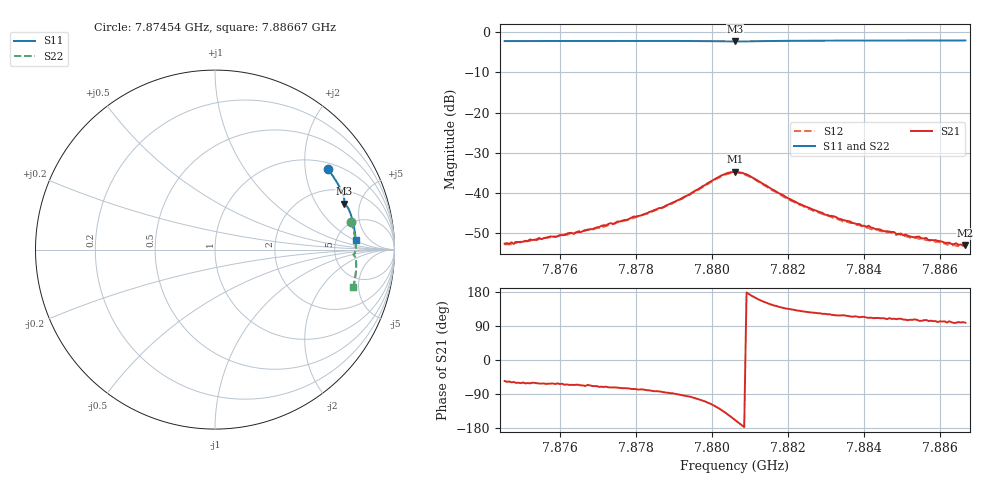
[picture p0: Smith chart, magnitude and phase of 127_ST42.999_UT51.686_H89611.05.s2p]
#  HZ  S  DB  R  50.00
! Rohde & Schwarz Vector Network Analyzer
! Rohde-Schwarz,ZNB20-2Port,1311601062101988,3.16
! Created: UTC 1/12/2023, 6:38:42 PM
! freq[Hz]  db:S11  ang:S11  db:S21  ang:S21  db:S12  ang:S12  db:S22  ang:S22
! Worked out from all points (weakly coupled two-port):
!   201 points, 7.87454 GHz to 7.88667 GHz, reference 50 ohm
!   highest |S21| = -34.73 dB at 7.88061 GHz (marker M1); lowest = -53.0 dB at 7.88667 GHz (marker M2)
!   lowest |S11| = -2.3 dB at 7.88061 GHz (marker M3), VSWR 7.47, Z = 144 + j178 ohm
!   |S11| at or under -10 dB: nowhere
!   |S22| runs from -2.2 to -2.0 dB; largest |S21 - S12| = 0.0012
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7.874542e9  -2.25 35.7  -52.60 -55.5  -52.81 -60.2  -2.20 11.6
7.874724e9  -2.25 35.1  -52.28 -58.9  -52.72 -61.6  -2.20 11.2
7.874785e9  -2.24 35.0  -52.66 -58.1  -52.23 -62.3  -2.19 11.0
7.874845e9  -2.24 34.8  -52.17 -60.4  -52.37 -60.5  -2.19 10.9
7.875391e9  -2.23 33.3  -51.52 -61.3  -51.73 -65.1  -2.17 9.6
7.876604e9  -2.21 30.0  -49.47 -66.9  -49.46 -71.6  -2.14 6.7
7.877757e9  -2.20 26.8  -46.70 -74.8  -46.79 -78.2  -2.11 4.0
7.878606e9  -2.20 24.5  -43.77 -82.9  -44.01 -86.1  -2.11 2.0
7.879395e9  -2.21 22.2  -40.43 -96.1  -40.60 -100.3  -2.12 0.1
7.880244e9  -2.31 20.0  -35.67 -131.5  -35.89 -134.8  -2.21 -1.8
7.880608e9  -2.34 19.6  -34.73 -158.3  -34.91 -161.5  -2.25 -2.1
7.880972e9  -2.30 19.2  -35.65 174.2  -35.82 170.7  -2.20 -2.4
7.882003e9  -2.17 16.5  -41.31 135.0  -41.46 131.3  -2.07 -4.5
7.88267e9  -2.14 14.6  -44.16 125.0  -44.41 121.6  -2.03 -6.1
7.883458e9  -2.13 12.5  -46.72 118.0  -47.13 114.3  -2.01 -7.9
7.884671e9  -2.11 9.3  -49.62 110.6  -49.70 106.0  -1.98 -10.6
7.884853e9  -2.11 8.8  -50.15 107.7  -50.46 104.2  -1.98 -11.0
7.884914e9  -2.11 8.7  -50.25 109.0  -50.10 104.7  -1.98 -11.2
7.885035e9  -2.10 8.3  -50.54 106.7  -50.78 104.2  -1.97 -11.4
7.885521e9  -2.10 7.1  -51.31 103.4  -51.26 102.6  -1.97 -12.5
7.886309e9  -2.09 5.0  -52.70 99.6  -53.14 95.3  -1.96 -14.2
7.886673e9  -2.09 4.1  -53.05 98.4  -53.20 97.2  -1.96 -15.0
